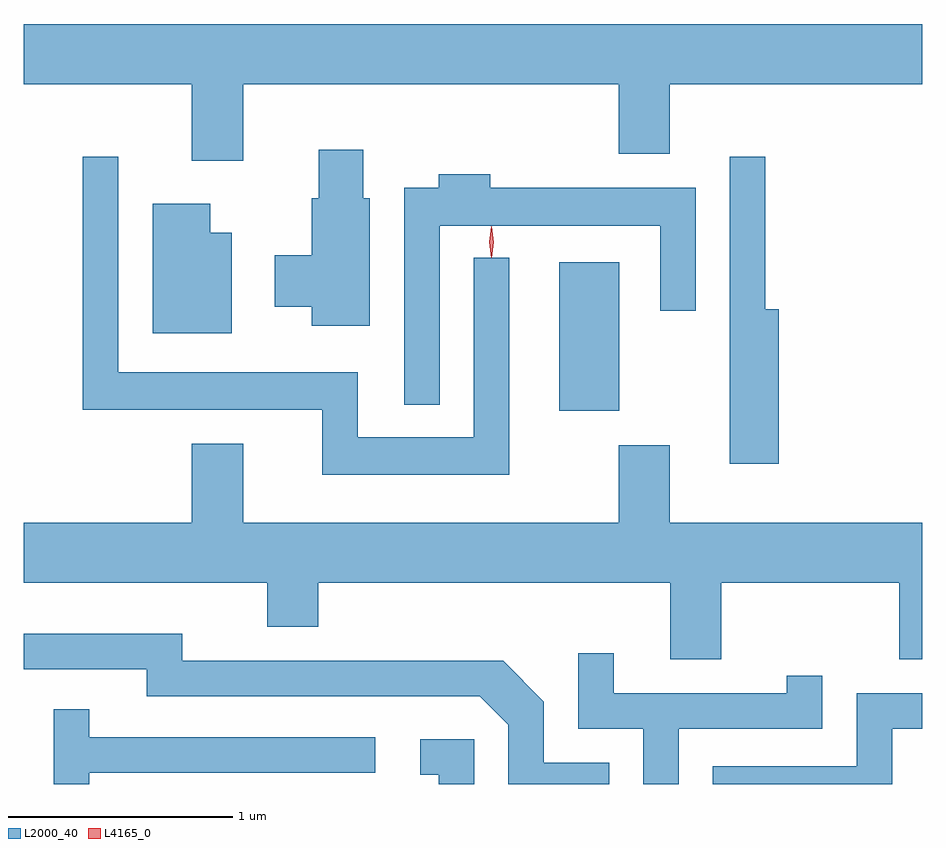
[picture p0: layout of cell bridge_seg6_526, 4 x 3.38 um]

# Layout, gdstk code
import gdstk
lib = gdstk.Library(unit=1e-6, precision=1e-09)
def R(c, l, rs):  # rectangles x0, y0, x1, y1
    for r in rs: c.add(gdstk.rectangle(r[:2], r[2:], *l))
def P(c, l, *ps):  # polygons
    for p in ps: c.add(gdstk.Polygon(p, *l))
L2000_40 = (2000, 40)
L4165_0 = (4165, 0)

bridge_seg6_526 = lib.new_cell('bridge_seg6_526')
R(bridge_seg6_526, L2000_40, [(446.136,1661.801,446.404,1662.464)])
P(bridge_seg6_526, L2000_40, [(443.753,1663.256),(444.501,1663.256),(444.501,1662.916),(444.729,1662.916),(444.729,1663.256),(446.401,1663.256),(446.401,1662.946),(446.629,1662.946),(446.629,1663.256),(447.753,1663.256),(447.753,1663.524),(443.753,1663.524)],
  [(445.294,1662.749),(445.264,1662.749),(445.264,1662.964),(445.066,1662.964),(445.066,1662.749),(445.036,1662.749),(445.036,1662.494),(444.871,1662.494),(444.871,1662.266),(445.036,1662.266),(445.036,1662.181),(445.294,1662.181)],
  [(447.114,1662.254),(447.054,1662.254),(447.054,1662.933),(446.896,1662.933),(446.896,1661.566),(447.114,1661.566)],
  [(445.914,1662.483),(445.756,1662.483),(445.756,1661.684),(445.239,1661.684),(445.239,1661.974),(444.174,1661.974),(444.174,1662.933),(444.016,1662.933),(444.016,1661.806),(445.081,1661.806),(445.081,1661.516),(445.914,1661.516)],
  [(445.604,1662.626),(446.586,1662.626),(446.586,1662.248),(446.744,1662.248),(446.744,1662.794),(445.829,1662.794),(445.829,1662.854),(445.601,1662.854),(445.601,1662.794),(445.446,1662.794),(445.446,1661.828),(445.604,1661.828)],
  [(444.679,1662.594),(444.584,1662.594),(444.584,1662.724),(444.326,1662.724),(444.326,1662.146),(444.679,1662.146)],
  [(446.859,1661.036),(447.651,1661.036),(447.651,1660.696),(447.753,1660.696),(447.753,1661.304),(446.629,1661.304),(446.629,1661.649),(446.401,1661.649),(446.401,1661.304),(444.729,1661.304),(444.729,1661.654),(444.501,1661.654),(444.501,1661.304),(443.753,1661.304),(443.753,1661.036),(444.836,1661.036),(444.836,1660.841),(445.064,1660.841),(445.064,1661.036),(446.631,1661.036),(446.631,1660.696),(446.859,1660.696)],
  [(446.359,1660.234),(446.069,1660.234),(446.069,1660.507),(445.887,1660.689),(444.459,1660.689),(444.459,1660.809),(443.753,1660.809),(443.753,1660.651),(444.301,1660.651),(444.301,1660.531),(445.784,1660.531),(445.911,1660.404),(445.911,1660.14),(446.359,1660.14)],
  [(446.669,1660.386),(447.309,1660.386),(447.309,1660.623),(447.151,1660.623),(447.151,1660.544),(446.379,1660.544),(446.379,1660.723),(446.221,1660.723),(446.221,1660.386),(446.511,1660.386),(446.511,1660.14),(446.669,1660.14)],
  [(447.619,1660.386),(447.753,1660.386),(447.753,1660.544),(447.461,1660.544),(447.461,1660.219),(446.821,1660.219),(446.821,1660.14),(447.619,1660.14)],
  [(444.044,1660.191),(445.318,1660.191),(445.318,1660.349),(444.044,1660.349),(444.044,1660.473),(443.886,1660.473),(443.886,1660.14),(444.044,1660.14)],
  [(445.759,1660.339),(445.518,1660.339),(445.518,1660.181),(445.601,1660.181),(445.601,1660.14),(445.759,1660.14)])
P(bridge_seg6_526, L4165_0, [(445.834,1662.484),(445.825,1662.553),(445.834,1662.622),(445.835,1662.623),(445.836,1662.622),(445.845,1662.553),(445.836,1662.484),(445.835,1662.484)],
  [(445.834,1662.487),(445.825,1662.554),(445.834,1662.62),(445.835,1662.621),(445.835,1662.62),(445.845,1662.554),(445.835,1662.487),(445.835,1662.487)])

lib.write_gds('bridge_seg6_526.gds')
